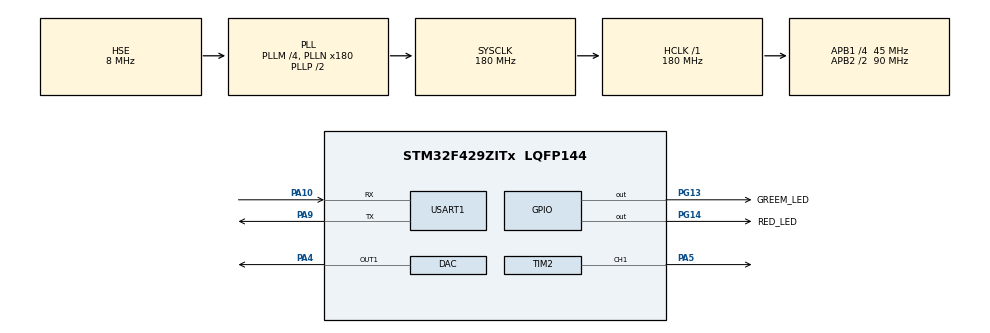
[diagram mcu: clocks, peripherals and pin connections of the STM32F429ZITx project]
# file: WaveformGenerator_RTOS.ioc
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DAC.DAC_Trigger=DAC_TRIGGER_T4_TRGO
Dma.DAC1.2.Direction=DMA_MEMORY_TO_PERIPH
Dma.DAC1.2.FIFOMode=DMA_FIFOMODE_DISABLE
Dma.DAC1.2.Instance=DMA1_Stream5
Dma.DAC1.2.MemDataAlignment=DMA_MDATAALIGN_HALFWORD
Dma.DAC1.2.MemInc=DMA_MINC_ENABLE
Dma.DAC1.2.Mode=DMA_CIRCULAR
Dma.DAC1.2.PeriphDataAlignment=DMA_PDATAALIGN_HALFWORD
Dma.DAC1.2.PeriphInc=DMA_PINC_DISABLE
Dma.DAC1.2.Priority=DMA_PRIORITY_LOW
Dma.Request0=USART1_RX
Dma.Request1=USART1_TX
Dma.Request2=DAC1
Dma.USART1_RX.0.Direction=DMA_PERIPH_TO_MEMORY
Dma.USART1_RX.0.FIFOMode=DMA_FIFOMODE_DISABLE
Dma.USART1_RX.0.Instance=DMA2_Stream2
Dma.USART1_RX.0.MemDataAlignment=DMA_MDATAALIGN_BYTE
Dma.USART1_RX.0.MemInc=DMA_MINC_ENABLE
Dma.USART1_RX.0.Mode=DMA_NORMAL
Dma.USART1_RX.0.PeriphDataAlignment=DMA_PDATAALIGN_BYTE
Dma.USART1_RX.0.PeriphInc=DMA_PINC_DISABLE
Dma.USART1_RX.0.Priority=DMA_PRIORITY_LOW
Dma.USART1_TX.1.Direction=DMA_MEMORY_TO_PERIPH
Dma.USART1_TX.1.FIFOMode=DMA_FIFOMODE_DISABLE
Dma.USART1_TX.1.Instance=DMA2_Stream7
Dma.USART1_TX.1.MemDataAlignment=DMA_MDATAALIGN_BYTE
Dma.USART1_TX.1.MemInc=DMA_MINC_ENABLE
Dma.USART1_TX.1.Mode=DMA_NORMAL
Dma.USART1_TX.1.PeriphDataAlignment=DMA_PDATAALIGN_BYTE
Dma.USART1_TX.1.PeriphInc=DMA_PINC_DISABLE
Dma.USART1_TX.1.Priority=DMA_PRIORITY_LOW
FREERTOS.BinarySemaphores01=Key,Dynamic,NULL
FREERTOS.Tasks01=defaultTask,24,500,StartDefaultTask,Default,NULL,Dynamic,NULL,NULL;myTask02,24,2048,StartTask02,Default,NULL,Dynamic,NULL,NULL;CommandHandler,24,500,StartTask03,Default,NULL,Dynamic,NULL,NULL
Mcu.Family=STM32F4
Mcu.Name=STM32F429ZITx
Mcu.Package=LQFP144
NVIC.DMA1_Stream5_IRQn=true\:5\:0\:false\:false\:true\:true\:false\:true\:true
NVIC.DMA2_Stream2_IRQn=true\:5\:0\:false\:false\:true\:true\:false\:true\:true
NVIC.DMA2_Stream7_IRQn=true\:5\:0\:false\:false\:true\:true\:false\:true\:true
NVIC.PriorityGroup=NVIC_PRIORITYGROUP_4
NVIC.TIM6_DAC_IRQn=true\:5\:0\:false\:false\:true\:false\:false\:true\:true
NVIC.USART1_IRQn=true\:5\:0\:false\:false\:true\:true\:true\:true\:true
PA10.Mode=Asynchronous
PA10.Signal=USART1_RX
PA4.Signal=COMP_DAC1_group
PA5.Signal=S_TIM2_CH1_ETR
PA9.Mode=Asynchronous
PA9.Signal=USART1_TX
PG13.GPIO_Label=GREEM_LED
PG13.Signal=GPIO_Output
PG14.GPIO_Label=RED_LED
PG14.Signal=GPIO_Output
PH0/OSC_IN.Mode=HSE-External-Oscillator
PH0/OSC_IN.Signal=RCC_OSC_IN
PH1/OSC_OUT.Mode=HSE-External-Oscillator
PH1/OSC_OUT.Signal=RCC_OSC_OUT
ProjectManager.HeapSize=0x200
ProjectManager.StackSize=0x400
ProjectManager.TargetToolchain=STM32CubeIDE
RCC.48MHZClocksFreq_Value=90000000
RCC.AHBFreq_Value=180000000
RCC.APB1CLKDivider=RCC_HCLK_DIV4
RCC.APB1Freq_Value=45000000
RCC.APB1TimFreq_Value=90000000
RCC.APB2CLKDivider=RCC_HCLK_DIV2
RCC.APB2Freq_Value=90000000
RCC.APB2TimFreq_Value=180000000
RCC.CortexFreq_Value=180000000
RCC.HCLKFreq_Value=180000000
RCC.HSE_VALUE=8000000
RCC.HSI_VALUE=16000000
RCC.LSE_VALUE=32768
RCC.PLLM=4
RCC.PLLN=180
RCC.PLLSourceVirtual=RCC_PLLSOURCE_HSE
RCC.SYSCLKFreq_VALUE=180000000
RCC.SYSCLKSource=RCC_SYSCLKSOURCE_PLLCLK
RCC.VCOOutputFreq_Value=360000000
SH.COMP_DAC1_group.0=DAC_OUT1,DAC_OUT1
SH.S_TIM2_CH1_ETR.0=TIM2_CH1,PWM Generation1 CH1
TIM2.AutoReloadPreload=TIM_AUTORELOAD_PRELOAD_ENABLE
TIM2.Channel-PWM\ Generation1\ CH1=TIM_CHANNEL_1
TIM2.Period=719
TIM4.TIM_MasterOutputTrigger=TIM_TRGO_UPDATE
USART1.VirtualMode=VM_ASYNC
VP_FREERTOS_VS_CMSIS_V2.Mode=CMSIS_V2
VP_TIM2_VS_ClockSourceINT.Mode=Internal
VP_TIM4_VS_ClockSourceINT.Mode=Internal
board=custom

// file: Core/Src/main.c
/* USER CODE BEGIN Header */
/**
  ******************************************************************************
  * @file           : main.c
  * @brief          : Main program body
  ******************************************************************************
  * @attention
  *
  * Copyright (c) 2023 STMicroelectronics.
  * All rights reserved.
  *
  * This software is licensed under terms that can be found in the LICENSE file
  * in the root directory of this software component.
  * If no LICENSE file comes with this software, it is provided AS-IS.
  *
  ******************************************************************************
  */
/* USER CODE END Header */
#include "main.h"
#include "cmsis_os.h"
#include "semphr.h"

#include "HAL_CommandHandler.h"
#include "HAL_DAC.h"
#include "HAL_GlobalDef.h"
#include "HAL_PWM.h"
#include "HAL_SysTick.h"
#include "HAL_USART.h"
#include "HAL_WaveformGenerator.h"

/* USER CODE BEGIN PTD */
#define FPU_CP10_FULL (0x00200000 + 0x00100000)
#define FPU_CP11_FULL (0x00800000 + 0x00400000)
/* USER CODE END PTD */

DAC_HandleTypeDef hdac;
DMA_HandleTypeDef hdma_dac1;

TIM_HandleTypeDef htim2;
TIM_HandleTypeDef htim4;

UART_HandleTypeDef huart1;
DMA_HandleTypeDef hdma_usart1_rx;
DMA_HandleTypeDef hdma_usart1_tx;
uint64_t caonima;

/* Definitions for defaultTask */
osThreadId_t defaultTaskHandle;
const osThreadAttr_t defaultTask_attributes = {
  .name = "defaultTask",
  .stack_size = 2048,
  .priority = (osPriority_t) osPriorityNormal,
};
/* Definitions for myTask02 */
osThreadId_t myTask02Handle;
const osThreadAttr_t myTask02_attributes = {
  .name = "myTask02",
  .stack_size = 2048,
  .priority = (osPriority_t) osPriorityNormal,
};
/* Definitions for CommandHandler */
osThreadId_t CommandHandlerHandle;
const osThreadAttr_t CommandHandler_attributes = {
  .name = "CommandHandler",
  .stack_size = 4000,
  .priority = (osPriority_t) osPriorityNormal,
};
/* Definitions for Key */
osSemaphoreId_t KeyHandle;
const osSemaphoreAttr_t Key_attributes = {
  .name = "Key"
};

void SystemClock_Config(void);
static void MX_GPIO_Init(void);
static void MX_DMA_Init(void);
static void MX_TIM2_Init(void);
static void MX_DAC_Init(void);
static void MX_TIM4_Init(void);
static void MX_USART1_UART_Init(void);
void StartDefaultTask(void *argument);
void StartTask02(void *argument);
void StartTask03(void *argument);

int main(void)
{
  /* USER CODE BEGIN 1 */
	_WAVEFORM_DESCRIPTOR Waveform;

	//configure our waveform descriptor structure.
	Waveform.e_WaveType = eWT_Triangular;
	Waveform.f_Amplitude = 100;
	Waveform.f_Offset = 0.0;
	Waveform.ull_Period_uS=10000;

	// Initialise the starting waveform as above.
	WaveformGenerator_Set_Waveform(Waveform);

	//Enable the FPU (floating point co-processor,access = full access)
	SCB->CPACR |= FPU_CP10_FULL | FPU_CP11_FULL ;

  /* USER CODE END 1 */

  /* MCU Configuration--------------------------------------------------------*/

  /* Reset of all peripherals, Initializes the Flash interface and the Systick. */
  HAL_Init();

  /* Configure the system clock */
  SystemClock_Config();

  /* Initialize all configured peripherals */
  MX_GPIO_Init();
  MX_DMA_Init();
  MX_TIM2_Init();
  MX_DAC_Init();
  MX_TIM4_Init();
  MX_USART1_UART_Init();
  /* USER CODE BEGIN 2 */
  HAL_TIM_PWM_Start(&htim2, TIM_CHANNEL_1);
  /* USER CODE END 2 */

  /* Init scheduler */
  osKernelInitialize();

  /* Create the semaphores(s) */
  /* creation of Key */
  KeyHandle = osSemaphoreNew(1, 1, &Key_attributes);

  /* Create the thread(s) */
  /* creation of defaultTask */
  defaultTaskHandle = osThreadNew(StartDefaultTask, NULL, &defaultTask_attributes);

  /* creation of myTask02 */
  myTask02Handle = osThreadNew(StartTask02, NULL, &myTask02_attributes);

  /* creation of CommandHandler */
  CommandHandlerHandle = osThreadNew(StartTask03, NULL, &CommandHandler_attributes);

  /* Start scheduler */
  osKernelStart();
  /* We should never get here as control is now taken by the scheduler */
  /* Infinite loop */
  while (1)
  {

  }
}

void SystemClock_Config(void)
{
  RCC_OscInitTypeDef RCC_OscInitStruct = {0};
  RCC_ClkInitTypeDef RCC_ClkInitStruct = {0};

  /** Configure the main internal regulator output voltage
  */
  __HAL_RCC_PWR_CLK_ENABLE();
  __HAL_PWR_VOLTAGESCALING_CONFIG(PWR_REGULATOR_VOLTAGE_SCALE1);

  /** Initializes the RCC Oscillators according to the specified parameters
  * in the RCC_OscInitTypeDef structure.
  */
  RCC_OscInitStruct.OscillatorType = RCC_OSCILLATORTYPE_HSE;
  RCC_OscInitStruct.HSEState = RCC_HSE_ON;
  RCC_OscInitStruct.PLL.PLLState = RCC_PLL_ON;
  RCC_OscInitStruct.PLL.PLLSource = RCC_PLLSOURCE_HSE;
  RCC_OscInitStruct.PLL.PLLM = 4;
  RCC_OscInitStruct.PLL.PLLN = 180;
  RCC_OscInitStruct.PLL.PLLP = RCC_PLLP_DIV2;
  RCC_OscInitStruct.PLL.PLLQ = 4;
  if (HAL_RCC_OscConfig(&RCC_OscInitStruct) != HAL_OK)
  {
    Error_Handler();
  }

  /** Activate the Over-Drive mode
  */
  if (HAL_PWREx_EnableOverDrive() != HAL_OK)
  {
    Error_Handler();
  }

  /** Initializes the CPU, AHB and APB buses clocks
  */
  RCC_ClkInitStruct.ClockType = RCC_CLOCKTYPE_HCLK|RCC_CLOCKTYPE_SYSCLK
                              |RCC_CLOCKTYPE_PCLK1|RCC_CLOCKTYPE_PCLK2;
  RCC_ClkInitStruct.SYSCLKSource = RCC_SYSCLKSOURCE_PLLCLK;
  RCC_ClkInitStruct.AHBCLKDivider = RCC_SYSCLK_DIV1;
  RCC_ClkInitStruct.APB1CLKDivider = RCC_HCLK_DIV4;
  RCC_ClkInitStruct.APB2CLKDivider = RCC_HCLK_DIV2;

  if (HAL_RCC_ClockConfig(&RCC_ClkInitStruct, FLASH_LATENCY_5) != HAL_OK)
  {
    Error_Handler();
  }
}

static void MX_DAC_Init(void)
{

  DAC_ChannelConfTypeDef sConfig = {0};

  /** DAC Initialization
  */
  hdac.Instance = DAC;
  if (HAL_DAC_Init(&hdac) != HAL_OK)
  {
    Error_Handler();
  }

  /** DAC channel OUT1 config
  */
  sConfig.DAC_Trigger = DAC_TRIGGER_T4_TRGO;
  sConfig.DAC_OutputBuffer = DAC_OUTPUTBUFFER_ENABLE;
  if (HAL_DAC_ConfigChannel(&hdac, &sConfig, DAC_CHANNEL_1) != HAL_OK)
  {
    Error_Handler();
  }

}

static void MX_TIM2_Init(void)
{

  TIM_ClockConfigTypeDef sClockSourceConfig = {0};
  TIM_MasterConfigTypeDef sMasterConfig = {0};
  TIM_OC_InitTypeDef sConfigOC = {0};

  htim2.Instance = TIM2;
  htim2.Init.Prescaler = 0;
  htim2.Init.CounterMode = TIM_COUNTERMODE_UP;
  htim2.Init.Period = 719;
  htim2.Init.ClockDivision = TIM_CLOCKDIVISION_DIV1;
  htim2.Init.AutoReloadPreload = TIM_AUTORELOAD_PRELOAD_ENABLE;
  if (HAL_TIM_Base_Init(&htim2) != HAL_OK)
  {
    Error_Handler();
  }
  sClockSourceConfig.ClockSource = TIM_CLOCKSOURCE_INTERNAL;
  if (HAL_TIM_ConfigClockSource(&htim2, &sClockSourceConfig) != HAL_OK)
  {
    Error_Handler();
  }
  if (HAL_TIM_PWM_Init(&htim2) != HAL_OK)
  {
    Error_Handler();
  }
  sMasterConfig.MasterOutputTrigger = TIM_TRGO_RESET;
  sMasterConfig.MasterSlaveMode = TIM_MASTERSLAVEMODE_DISABLE;
  if (HAL_TIMEx_MasterConfigSynchronization(&htim2, &sMasterConfig) != HAL_OK)
  {
    Error_Handler();
  }
  sConfigOC.OCMode = TIM_OCMODE_PWM1;
  sConfigOC.Pulse = 0;
  sConfigOC.OCPolarity = TIM_OCPOLARITY_HIGH;
  sConfigOC.OCFastMode = TIM_OCFAST_DISABLE;
  if (HAL_TIM_PWM_ConfigChannel(&htim2, &sConfigOC, TIM_CHANNEL_1) != HAL_OK)
  {
    Error_Handler();
  }
  HAL_TIM_MspPostInit(&htim2);

}

static void MX_TIM4_Init(void)
{

  TIM_ClockConfigTypeDef sClockSourceConfig = {0};
  TIM_MasterConfigTypeDef sMasterConfig = {0};

  htim4.Instance = TIM4;
  htim4.Init.Prescaler = 0;
  htim4.Init.CounterMode = TIM_COUNTERMODE_UP;
  htim4.Init.Period = 65535;
  htim4.Init.ClockDivision = TIM_CLOCKDIVISION_DIV1;
  htim4.Init.AutoReloadPreload = TIM_AUTORELOAD_PRELOAD_DISABLE;
  if (HAL_TIM_Base_Init(&htim4) != HAL_OK)
  {
    Error_Handler();
  }
  sClockSourceConfig.ClockSource = TIM_CLOCKSOURCE_INTERNAL;
  if (HAL_TIM_ConfigClockSource(&htim4, &sClockSourceConfig) != HAL_OK)
  {
    Error_Handler();
  }
  sMasterConfig.MasterOutputTrigger = TIM_TRGO_UPDATE;
  sMasterConfig.MasterSlaveMode = TIM_MASTERSLAVEMODE_DISABLE;
  if (HAL_TIMEx_MasterConfigSynchronization(&htim4, &sMasterConfig) != HAL_OK)
  {
    Error_Handler();
  }

}

static void MX_USART1_UART_Init(void)
{

  huart1.Instance = USART1;
  huart1.Init.BaudRate = 9600;
  huart1.Init.WordLength = UART_WORDLENGTH_8B;
  huart1.Init.StopBits = UART_STOPBITS_1;
  huart1.Init.Parity = UART_PARITY_NONE;
  huart1.Init.Mode = UART_MODE_TX_RX;
  huart1.Init.HwFlowCtl = UART_HWCONTROL_NONE;
  huart1.Init.OverSampling = UART_OVERSAMPLING_16;
  if (HAL_UART_Init(&huart1) != HAL_OK)
  {
    Error_Handler();
  }

}

static void MX_DMA_Init(void)
{

  /* DMA controller clock enable */
  __HAL_RCC_DMA2_CLK_ENABLE();
  __HAL_RCC_DMA1_CLK_ENABLE();

  /* DMA interrupt init */
  /* DMA1_Stream5_IRQn interrupt configuration */
  HAL_NVIC_SetPriority(DMA1_Stream5_IRQn, 5, 0);
  HAL_NVIC_EnableIRQ(DMA1_Stream5_IRQn);
  /* DMA2_Stream2_IRQn interrupt configuration */
  HAL_NVIC_SetPriority(DMA2_Stream2_IRQn, 5, 0);
  HAL_NVIC_EnableIRQ(DMA2_Stream2_IRQn);
  /* DMA2_Stream7_IRQn interrupt configuration */
  HAL_NVIC_SetPriority(DMA2_Stream7_IRQn, 5, 0);
  HAL_NVIC_EnableIRQ(DMA2_Stream7_IRQn);

}

static void MX_GPIO_Init(void)
{
  GPIO_InitTypeDef GPIO_InitStruct = {0};

  /* GPIO Ports Clock Enable */
  __HAL_RCC_GPIOH_CLK_ENABLE();
  __HAL_RCC_GPIOA_CLK_ENABLE();
  __HAL_RCC_GPIOG_CLK_ENABLE();

  /*Configure GPIO pin Output Level */
  HAL_GPIO_WritePin(GPIOG, GREEM_LED_Pin|RED_LED_Pin, GPIO_PIN_RESET);

  /*Configure GPIO pins : GREEM_LED_Pin RED_LED_Pin */
  GPIO_InitStruct.Pin = GREEM_LED_Pin|RED_LED_Pin;
  GPIO_InitStruct.Mode = GPIO_MODE_OUTPUT_PP;
  GPIO_InitStruct.Pull = GPIO_NOPULL;
  GPIO_InitStruct.Speed = GPIO_SPEED_FREQ_LOW;
  HAL_GPIO_Init(GPIOG, &GPIO_InitStruct);

}

void StartDefaultTask(void *argument)
{
  /* USER CODE BEGIN 5 */

  /* Infinite loop */
	for(;;)
	{
		GPIOG->ODR |= 1<<14;
		// Update outputs in case manual updates are needed.
		WaveformGenerator_UpdateOutputs(&hdac , &htim2 , &htim4);

		//vTaskDelay(1);
	    //osDelay(1);

	}

  /* USER CODE END 5 */
}

void StartTask02(void *argument)
{
  /* USER CODE BEGIN StartTask02 */
  /* Infinite loop */
  for(;;)
  {

		//Process USART COMS
		USART_Process(&huart1,&hdma_usart1_rx,&hdma_usart1_tx);

		vTaskDelay(1*portTICK_RATE_MS);

  }
  /* USER CODE END StartTask02 */
}

void StartTask03(void *argument)
{
  /* USER CODE BEGIN StartTask03 */
  /* Infinite loop */
  for(;;)
  {

		// Process command
		CommandHandler_Run();

		vTaskDelay(10*portTICK_RATE_MS);

  }
  /* USER CODE END StartTask03 */
}

void Error_Handler(void)
{
  __disable_irq();
  while (1)
  {
  }
}
